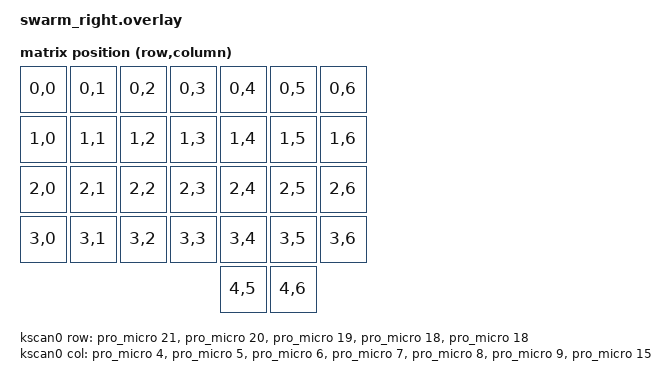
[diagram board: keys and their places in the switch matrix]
/*
 * Swarm Keyboard Right - Device Tree Overlay
 * 30 keys: 7 columns x 4 rows + 2 thumb keys
 *
 * Pin mapping from swarm_brain_promicro.py:
 *   ROWS: GPIO 21, 20, 19, 18 (Nice!Nano left side pins 5-8)
 *   COLS: GPIO 4, 5, 6, 7, 8, 9, 15 (right side + pin 9 left)
 *
 * Nice!Nano v2 GPIO mapping:
 *   Left side (top to bottom): RAW, GND, RST, VCC, 21(P0.31), 20(P0.29), 19(P0.02), 18(P1.15), 15(P1.13), 14(P1.11), 16(P0.10), 10(P0.09)
 *   Right side: B+, GND, P1(P0.06), P0(P0.08), 2(P0.17), 3(P0.20), 4(P0.22), 5(P0.24), 6(P1.00), 7(P0.11), 8(P1.04), 9(P1.06)
 */

#include <dt-bindings/zmk/matrix_transform.h>

/ {
    chosen {
        zmk,kscan = &kscan0;
        zmk,matrix_transform = &default_transform;
    };

    default_transform: keymap_transform_0 {
        compatible = "zmk,matrix-transform";
        columns = <7>;
        rows = <5>;  /* 4 main rows + 1 thumb row */

        /* Physical position to matrix position mapping
         * Format: RC(row, col)
         *
         * Main 7x4 grid:
         *   [0]   [1]   [2]   [3]   [4]   [5]   [6]   ROW0
         *   [7]   [8]   [9]   [10]  [11]  [12]  [13]  ROW1
         *   [14]  [15]  [16]  [17]  [18]  [19]  [20]  ROW2
         *   [21]  [22]  [23]  [24]  [25]  [26]  [27]  ROW3
         *
         * Thumb keys (on row 4, cols 5-6):
         *                           [28]  [29]
         */
        map = <
            RC(0,0) RC(0,1) RC(0,2) RC(0,3) RC(0,4) RC(0,5) RC(0,6)
            RC(1,0) RC(1,1) RC(1,2) RC(1,3) RC(1,4) RC(1,5) RC(1,6)
            RC(2,0) RC(2,1) RC(2,2) RC(2,3) RC(2,4) RC(2,5) RC(2,6)
            RC(3,0) RC(3,1) RC(3,2) RC(3,3) RC(3,4) RC(3,5) RC(3,6)
                                            RC(4,5) RC(4,6)
        >;
    };

    kscan0: kscan {
        compatible = "zmk,kscan-gpio-matrix";
        diode-direction = "col2row";

        /* Row pins - directly from brain schematic (Nice!Nano left side) */
        row-gpios
            = <&pro_micro 21 (GPIO_ACTIVE_HIGH | GPIO_PULL_DOWN)>  /* ROW0 - P0.31 */
            , <&pro_micro 20 (GPIO_ACTIVE_HIGH | GPIO_PULL_DOWN)>  /* ROW1 - P0.29 */
            , <&pro_micro 19 (GPIO_ACTIVE_HIGH | GPIO_PULL_DOWN)>  /* ROW2 - P0.02 */
            , <&pro_micro 18 (GPIO_ACTIVE_HIGH | GPIO_PULL_DOWN)>  /* ROW3 - P1.15 */
            , <&pro_micro 18 (GPIO_ACTIVE_HIGH | GPIO_PULL_DOWN)>  /* THUMB row - same as ROW3 */
            ;

        /* Column pins - directly from brain schematic (Nice!Nano right side) */
        col-gpios
            = <&pro_micro 4 GPIO_ACTIVE_HIGH>   /* COL0 - P0.22 */
            , <&pro_micro 5 GPIO_ACTIVE_HIGH>   /* COL1 - P0.24 */
            , <&pro_micro 6 GPIO_ACTIVE_HIGH>   /* COL2 - P1.00 */
            , <&pro_micro 7 GPIO_ACTIVE_HIGH>   /* COL3 - P0.11 */
            , <&pro_micro 8 GPIO_ACTIVE_HIGH>   /* COL4 - P1.04 */
            , <&pro_micro 9 GPIO_ACTIVE_HIGH>   /* COL5 - P1.06 */
            , <&pro_micro 15 GPIO_ACTIVE_HIGH>  /* COL6 - P1.13 */
            ;
    };
};
